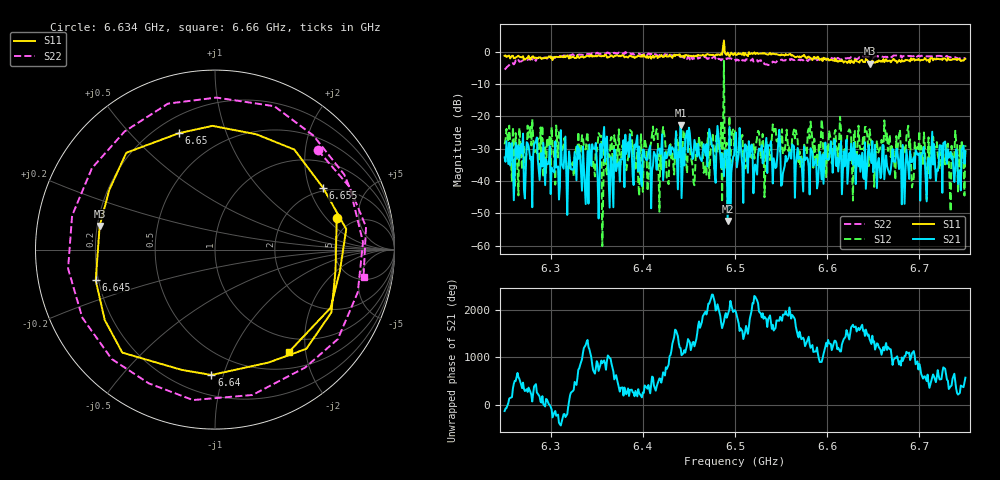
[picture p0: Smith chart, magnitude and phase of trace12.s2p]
# Hz S RI R 50
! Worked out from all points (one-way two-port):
!   401 points, 6.25 GHz to 6.75 GHz, reference 50 ohm
!   highest |S21| = -22.76 dB at 6.441 GHz (marker M1); lowest = -52.4 dB at 6.492 GHz (marker M2)
!   lowest |S11| = -3.7 dB at 6.646 GHz (marker M3), VSWR 4.81, Z = 10.5 + j4.87 ohm
!   |S11| at or under -10 dB: nowhere
!   |S22| runs from -5.5 to -0.1 dB; largest |S21 - S12| = 0.73
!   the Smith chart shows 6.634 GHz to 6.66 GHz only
!   S11 on the Smith chart (normalised r, x): 6.634 GHz: 3.75, +2.64; 6.64 GHz: 0.33, -0.91; 6.645 GHz: 0.19, -0.12; 6.65 GHz: 0.29, +0.70; 6.655 GHz: 1.87, +2.49; 6.66 GHz: 0.75, -1.70
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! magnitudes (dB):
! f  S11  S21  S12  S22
! 6.25 GHz  -1.2  -32.7  -28.6  -5.5
! 6.262 GHz  -1.8  -28.2  -25.1  -2.7
! 6.278 GHz  -2.4  -33.3  -23.2  -2.4
! 6.334 GHz  -1.4  -43.0  -25.8  -0.9
! 6.359 GHz  -0.8  -34.0  -27.7  -0.5
! 6.388 GHz  -1.5  -31.6  -24.8  -0.9
! 6.398 GHz  -1.5  -40.1  -25.3  -0.9
! 6.414 GHz  -1.3  -32.3  -25.3  -0.8
! 6.418 GHz  -1.3  -29.9  -49.5  -1.0
! 6.441 GHz  -1.5  -22.8  -27.0  -1.5
! 6.492 GHz  -0.2  -52.4  -47.1  -2.0
! 6.5 GHz  -0.4  -27.6  -23.9  -2.4
! 6.584 GHz  -2.6  -31.0  -27.3  -2.7
! 6.634 GHz  -3.1  -35.4  -22.9  -2.0
! 6.64 GHz  -3.1  -39.3  -30.4  -1.6
! 6.645 GHz  -3.3  -28.9  -35.4  -1.5
! 6.646 GHz  -3.7  -31.0  -23.9  -1.6
! 6.65 GHz  -3.4  -37.3  -31.9  -1.7
! 6.655 GHz  -3.2  -34.4  -31.4  -1.3
! 6.66 GHz  -3.0  -28.8  -28.1  -1.5
! 6.668 GHz  -2.7  -38.0  -25.7  -1.2
! 6.75 GHz  -2.2  -30.8  -28.9  -2.4
